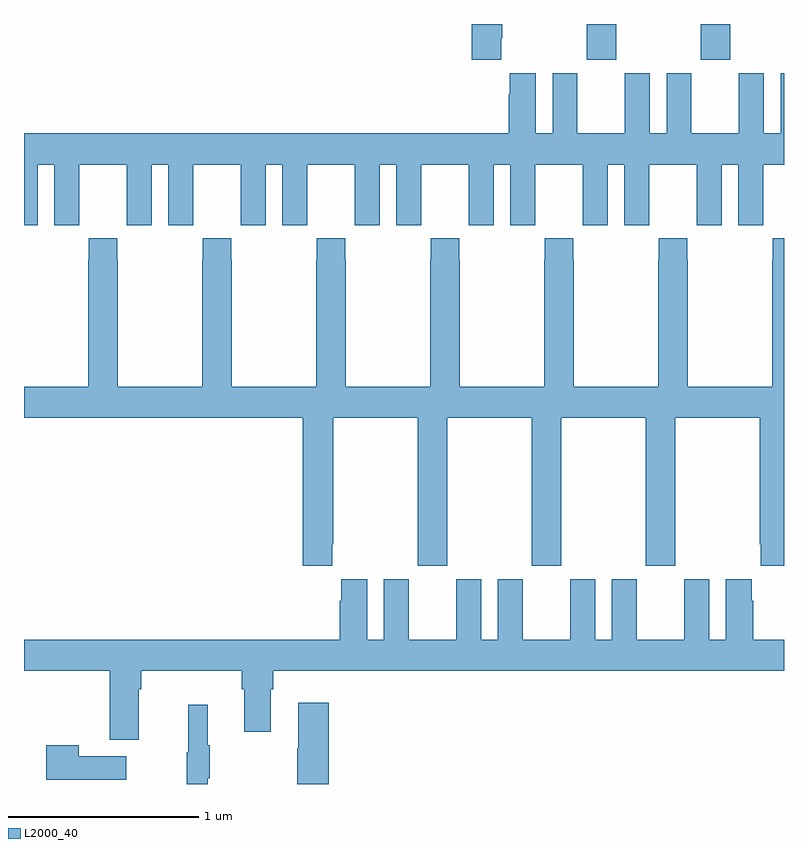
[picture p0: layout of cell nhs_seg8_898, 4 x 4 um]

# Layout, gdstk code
import gdstk
lib = gdstk.Library(unit=1e-6, precision=1e-09)
def R(c, l, rs):  # rectangles x0, y0, x1, y1
    for r in rs: c.add(gdstk.rectangle(r[:2], r[2:], *l))
def P(c, l, *ps):  # polygons
    for p in ps: c.add(gdstk.Polygon(p, *l))
L2000_40 = (2000, 40)

nhs_seg8_898 = lib.new_cell('nhs_seg8_898')
R(nhs_seg8_898, L2000_40, [(171.961,1123.713,172.116,1123.9), (172.561,1123.713,172.716,1123.9)])
P(nhs_seg8_898, L2000_40, [(171.511,1123.825),(171.516,1123.825),(171.516,1123.9),(171.356,1123.9),(171.356,1123.713),(171.511,1123.713)],
  [(172.513,1123.642),(172.382,1123.642),(172.382,1123.324),(172.294,1123.324),(172.294,1123.642),(172.163,1123.642),(172.163,1123.324),(171.913,1123.324),(171.913,1123.642),(171.782,1123.642),(171.782,1123.324),(171.694,1123.324),(171.694,1123.642),(171.557,1123.642),(171.557,1123.529),(171.551,1123.529),(171.551,1123.324),(169,1123.324),(169,1122.84),(169.072,1122.84),(169.072,1123.16),(169.16,1123.16),(169.16,1122.84),(169.29,1122.84),(169.29,1122.952),(169.291,1122.952),(169.291,1123.16),(169.541,1123.16),(169.541,1122.952),(169.542,1122.952),(169.542,1122.84),(169.672,1122.84),(169.672,1123.16),(169.76,1123.16),(169.76,1122.84),(169.89,1122.84),(169.89,1122.952),(169.891,1122.952),(169.891,1123.16),(170.141,1123.16),(170.141,1122.952),(170.142,1122.952),(170.142,1122.84),(170.272,1122.84),(170.272,1123.16),(170.36,1123.16),(170.36,1122.84),(170.49,1122.84),(170.49,1122.952),(170.491,1122.952),(170.491,1123.16),(170.741,1123.16),(170.741,1122.952),(170.742,1122.952),(170.742,1122.84),(170.872,1122.84),(170.872,1123.16),(170.96,1123.16),(170.96,1122.84),(171.09,1122.84),(171.09,1122.952),(171.091,1122.952),(171.091,1123.16),(171.341,1123.16),(171.341,1122.952),(171.342,1122.952),(171.342,1122.84),(171.472,1122.84),(171.472,1123.16),(171.56,1123.16),(171.56,1122.84),(171.69,1122.84),(171.69,1122.952),(171.691,1122.952),(171.691,1123.16),(171.941,1123.16),(171.941,1122.952),(171.942,1122.952),(171.942,1122.84),(172.072,1122.84),(172.072,1123.16),(172.16,1123.16),(172.16,1122.84),(172.29,1122.84),(172.29,1122.952),(172.291,1122.952),(172.291,1123.16),(172.541,1123.16),(172.541,1122.952),(172.542,1122.952),(172.542,1122.84),(172.672,1122.84),(172.672,1123.16),(172.76,1123.16),(172.76,1122.84),(172.89,1122.84),(172.89,1122.952),(172.891,1122.952),(172.891,1123.16),(173,1123.16),(173,1123.642),(172.982,1123.642),(172.982,1123.324),(172.894,1123.324),(172.894,1123.642),(172.763,1123.642),(172.763,1123.324),(172.513,1123.324)],
  [(170.623,1121.161),(170.628,1121.161),(170.628,1121.828),(171.073,1121.828),(171.073,1121.049),(171.228,1121.049),(171.228,1121.828),(171.673,1121.828),(171.673,1121.049),(171.828,1121.049),(171.828,1121.828),(172.273,1121.828),(172.273,1121.049),(172.428,1121.049),(172.428,1121.828),(172.873,1121.828),(172.873,1121.161),(172.877,1121.161),(172.877,1121.049),(173,1121.049),(173,1122.772),(172.941,1122.772),(172.941,1122.659),(172.939,1122.659),(172.939,1121.992),(172.494,1121.992),(172.494,1122.659),(172.491,1122.659),(172.491,1122.772),(172.341,1122.772),(172.341,1122.659),(172.339,1122.659),(172.339,1121.992),(171.894,1121.992),(171.894,1122.659),(171.891,1122.659),(171.891,1122.772),(171.741,1122.772),(171.741,1122.659),(171.739,1122.659),(171.739,1121.992),(171.294,1121.992),(171.294,1122.659),(171.291,1122.659),(171.291,1122.772),(171.141,1122.772),(171.141,1122.659),(171.139,1122.659),(171.139,1121.992),(170.694,1121.992),(170.694,1122.659),(170.691,1122.659),(170.691,1122.772),(170.541,1122.772),(170.541,1122.659),(170.539,1122.659),(170.539,1121.992),(170.094,1121.992),(170.094,1122.659),(170.091,1122.659),(170.091,1122.772),(169.941,1122.772),(169.941,1122.659),(169.939,1122.659),(169.939,1121.992),(169.494,1121.992),(169.494,1122.659),(169.491,1122.659),(169.491,1122.772),(169.341,1122.772),(169.341,1122.659),(169.339,1122.659),(169.339,1121.992),(169,1121.992),(169,1121.828),(170.468,1121.828),(170.468,1121.049),(170.623,1121.049)],
  [(169.603,1120.4),(169.616,1120.4),(169.616,1120.496),(170.147,1120.496),(170.147,1120.4),(170.159,1120.4),(170.159,1120.176),(170.299,1120.176),(170.299,1120.4),(170.312,1120.4),(170.312,1120.496),(173,1120.496),(173,1120.66),(172.838,1120.66),(172.838,1120.865),(172.831,1120.865),(172.831,1120.978),(172.694,1120.978),(172.694,1120.66),(172.606,1120.66),(172.606,1120.978),(172.475,1120.978),(172.475,1120.66),(172.225,1120.66),(172.225,1120.978),(172.094,1120.978),(172.094,1120.66),(172.006,1120.66),(172.006,1120.978),(171.875,1120.978),(171.875,1120.66),(171.625,1120.66),(171.625,1120.978),(171.494,1120.978),(171.494,1120.66),(171.406,1120.66),(171.406,1120.978),(171.275,1120.978),(171.275,1120.66),(171.025,1120.66),(171.025,1120.978),(170.894,1120.978),(170.894,1120.66),(170.806,1120.66),(170.806,1120.978),(170.669,1120.978),(170.669,1120.865),(170.663,1120.865),(170.663,1120.66),(169,1120.66),(169,1120.496),(169.451,1120.496),(169.451,1120.134),(169.603,1120.134)],
  [(170.603,1120.327),(170.444,1120.327),(170.444,1120.088),(170.437,1120.088),(170.437,1119.9),(170.603,1119.9)],
  [(169.967,1119.931),(169.978,1119.931),(169.978,1120.105),(169.967,1120.105),(169.967,1120.318),(169.864,1120.318),(169.864,1120.068),(169.857,1120.068),(169.857,1119.9),(169.967,1119.9)],
  [(169.537,1120.045),(169.289,1120.045),(169.289,1120.105),(169.118,1120.105),(169.118,1119.923),(169.537,1119.923)])

lib.write_gds('nhs_seg8_898.gds')
